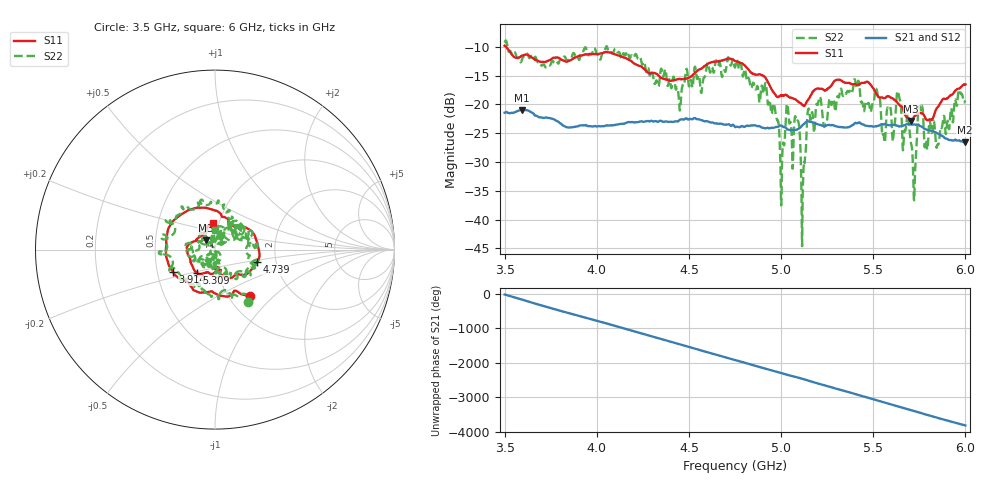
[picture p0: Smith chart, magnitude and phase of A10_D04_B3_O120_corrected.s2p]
! Created with skrf 1.9.0 (http://scikit-rf.org).
# Hz S RI R 50.0
!freq ReS11 ImS11 ReS21 ImS21 ReS12 ImS12 ReS22 ImS22
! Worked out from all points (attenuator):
!   1601 points, 3.5 GHz to 6 GHz, reference 50 ohm
!   highest |S21| = -20.95 dB at 3.592 GHz (marker M1); lowest = -26.6 dB at 5.997 GHz (marker M2)
!   lowest |S11| = -22.9 dB at 5.706 GHz (marker M3), VSWR 1.15, Z = 44.9 + j4.59 ohm
!   |S11| at or under -10 dB: 3.508 GHz to end of sweep
!   |S22| runs from -44.6 to -8.9 dB; largest |S21 - S12| = 0.0011
!   S11 on the Smith chart (normalised r, x): 3.5 GHz: 1.26, -0.72; 3.914 GHz: 0.61, -0.16; 4.739 GHz: 1.59, -0.23; 5.309 GHz: 0.79, -0.21; 6 GHz: 0.93, +0.28
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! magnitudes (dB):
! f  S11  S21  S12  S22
! 3.5 GHz  -9.8  -21.4  -21.4  -9.3
! 3.592 GHz  -11.5  -20.9  -20.9  -12.4
! 3.914 GHz  -11.5  -23.7  -23.6  -11.2
! 3.917 GHz  -11.5  -23.6  -23.6  -10.8
! 4.334 GHz  -15.0  -23.0  -22.9  -16.9
! 4.739 GHz  -12.2  -23.5  -23.6  -12.2
! 4.75 GHz  -12.4  -23.9  -23.8  -13.6
! 4.911 GHz  -15.2  -24.1  -24.1  -16.9
! 5.005 GHz  -18.4  -23.7  -23.7  -30.8
! 5.034 GHz  -18.5  -24.4  -24.2  -20.0
! 5.086 GHz  -19.3  -24.4  -24.3  -23.0
! 5.119 GHz  -20.2  -23.5  -23.4  -33.7
! 5.167 GHz  -18.1  -23.1  -23.0  -21.4
! 5.309 GHz  -15.7  -23.9  -23.8  -18.7
! 5.584 GHz  -18.6  -23.6  -23.5  -20.6
! 5.639 GHz  -20.0  -23.8  -23.8  -18.4
! 5.706 GHz  -22.9  -23.5  -23.4  -26.9
! 5.725 GHz  -22.0  -23.5  -23.4  -33.8
! 5.756 GHz  -21.5  -23.8  -23.7  -21.0
! 5.848 GHz  -20.5  -25.0  -24.9  -27.0
! 5.997 GHz  -16.5  -26.6  -26.5  -19.5
! 6 GHz  -16.5  -26.6  -26.5  -19.3
